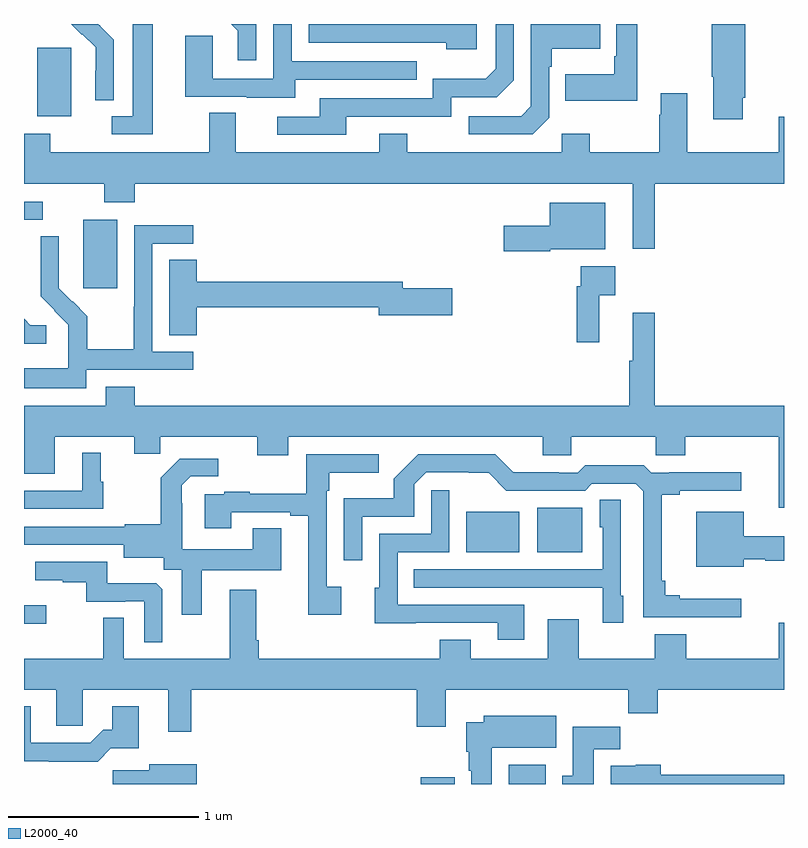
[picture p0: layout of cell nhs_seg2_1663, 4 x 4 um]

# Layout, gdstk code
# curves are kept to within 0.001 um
import gdstk
lib = gdstk.Library(unit=1e-6, precision=1e-09)
def R(c, l, rs):  # rectangles x0, y0, x1, y1
    for r in rs: c.add(gdstk.rectangle(r[:2], r[2:], *l))
def P(c, l, *ps):  # polygons
    for p in ps: c.add(gdstk.Polygon(p, *l))
L2000_40 = (2000, 40)

nhs_seg2_1663 = lib.new_cell('nhs_seg2_1663')
R(nhs_seg2_1663, L2000_40, [(199.088,653.8,199.267,653.836), (199.551,653.8,199.747,653.902), (197,654.644,197.116,654.742), (199.328,655.019,199.606,655.234), (199.7,655.019,199.939,655.255), (197.312,656.409,197.491,656.77), (197,656.769,197.098,656.865), (197.069,657.314,197.248,657.675)])
P(nhs_seg2_1663, L2000_40, [(199.764,657.306),(199.764,657.575),(199.777,657.575),(199.777,657.671),(200.033,657.671),(200.033,657.8),(199.668,657.8),(199.668,657.366),(199.617,657.315),(199.341,657.315),(199.341,657.219),(199.677,657.219)],
  [(198.697,657.312),(199.248,657.312),(199.248,657.414),(199.488,657.414),(199.578,657.504),(199.578,657.8),(199.482,657.8),(199.482,657.564),(199.429,657.511),(199.152,657.511),(199.152,657.408),(198.557,657.408),(198.557,657.312),(198.333,657.312),(198.333,657.216),(198.697,657.216)],
  [(197.677,657.8),(197.573,657.8),(197.573,657.315),(197.463,657.315),(197.463,657.219),(197.677,657.219)],
  [(198.222,657.8),(198.09,657.8),(198.125,657.765),(198.125,657.609),(198.222,657.609)],
  [(197.472,657.718),(197.399,657.791),(197.4,657.792),(197.392,657.8),(197.248,657.8),(197.304,657.744),(197.307,657.747),(197.378,657.677),(197.378,657.554),(197.376,657.554),(197.376,657.4),(197.472,657.4)],
  [(199.384,657.798),(198.607,657.798),(198.607,657.8),(198.498,657.8),(198.498,657.702),(199.223,657.702),(199.223,657.668),(199.384,657.668)],
  [(200.227,657.8),(200.118,657.8),(200.118,657.631),(200.106,657.631),(200.106,657.535),(199.849,657.535),(199.849,657.395),(200.227,657.395)],
  [(198.427,657.507),(199.067,657.507),(199.067,657.603),(198.408,657.603),(198.408,657.8),(198.312,657.8),(198.312,657.513),(197.994,657.513),(197.994,657.737),(197.849,657.737),(197.849,657.417),(198.173,657.417),(198.173,657.413),(198.427,657.413)],
  [(200.782,657.412),(200.795,657.412),(200.795,657.8),(200.62,657.8),(200.62,657.523),(200.627,657.523),(200.627,657.3),(200.782,657.3)],
  [(200.321,656.96),(201,656.96),(201,657.313),(200.972,657.313),(200.972,657.124),(200.491,657.124),(200.491,657.436),(200.351,657.436),(200.351,657.323),(200.344,657.323),(200.344,657.124),(199.977,657.124),(199.977,657.223),(199.83,657.223),(199.83,657.124),(199.017,657.124),(199.017,657.223),(198.869,657.223),(198.869,657.124),(198.115,657.124),(198.115,657.332),(197.975,657.332),(197.975,657.124),(197.139,657.124),(197.139,657.223),(197,657.223),(197,656.96),(197.422,656.96),(197.422,656.861),(197.582,656.861),(197.582,656.96),(200.204,656.96),(200.204,656.616),(200.321,656.616)],
  [(199.77,656.615),(200.059,656.615),(200.059,656.86),(199.766,656.86),(199.766,656.737),(199.524,656.737),(199.524,656.603),(199.77,656.603)],
  [(197.328,655.98),(197.89,655.98),(197.89,656.076),(197.676,656.076),(197.676,656.643),(197.89,656.643),(197.89,656.742),(197.58,656.742),(197.58,656.312),(197.578,656.312),(197.578,656.089),(197.333,656.089),(197.333,656.263),(197.256,656.34),(197.253,656.337),(197.183,656.408),(197.184,656.684),(197.088,656.684),(197.088,656.366),(197.234,656.218),(197.234,656.121),(197.232,656.121),(197.232,655.987),(197,655.987),(197,655.883),(197.328,655.883)],
  [(197.909,656.308),(198.866,656.308),(198.866,656.266),(199.255,656.266),(199.255,656.408),(198.994,656.408),(198.994,656.444),(197.909,656.444),(197.909,656.558),(197.765,656.558),(197.765,656.161),(197.909,656.161)],
  [(200.027,656.372),(200.113,656.372),(200.113,656.524),(199.929,656.524),(199.929,656.42),(199.909,656.42),(199.909,656.124),(200.027,656.124)],
  [(201,655.792),(200.321,655.792),(200.321,656.281),(200.204,656.281),(200.204,656.028),(200.185,656.028),(200.185,655.792),(197.582,655.792),(197.582,655.891),(197.429,655.891),(197.429,655.792),(197,655.792),(197,655.434),(197.161,655.434),(197.161,655.628),(197.579,655.628),(197.579,655.538),(197.717,655.538),(197.717,655.628),(198.227,655.628),(198.227,655.529),(198.391,655.529),(198.391,655.628),(199.73,655.628),(199.73,655.53),(199.881,655.53),(199.881,655.628),(200.326,655.628),(200.326,655.53),(200.481,655.53),(200.481,655.628),(200.972,655.628),(200.972,655.254),(201,655.254)],
  [(197.116,656.214),(197.034,656.214),(197,656.248),(197,656.117),(197.116,656.117)],
  [(197.416,655.392),(197.404,655.392),(197.404,655.543),(197.306,655.543),(197.306,655.344),(197,655.344),(197,655.248),(197.416,655.248)],
  [(200.776,654.775),(200.452,654.775),(200.452,654.794),(200.375,654.794),(200.375,654.871),(200.357,654.871),(200.357,655.322),(200.452,655.322),(200.452,655.344),(200.776,655.344),(200.776,655.442),(200.395,655.442),(200.395,655.437),(200.301,655.437),(200.261,655.477),(199.954,655.477),(199.914,655.437),(199.814,655.437),(199.814,655.442),(199.574,655.442),(199.479,655.536),(199.076,655.536),(198.946,655.406),(198.946,655.303),(198.684,655.303),(198.684,654.978),(198.78,654.978),(198.78,655.206),(199.053,655.206),(199.053,655.377),(199.116,655.44),(199.445,655.439),(199.539,655.344),(199.953,655.344),(199.989,655.38),(200.22,655.38),(200.259,655.341),(200.259,654.678),(200.776,654.678)],
  [(198.67,654.838),(198.594,654.838),(198.594,655.343),(198.607,655.343),(198.607,655.439),(198.868,655.439),(198.868,655.536),(198.486,655.536),(198.486,655.328),(198.187,655.328),(198.187,655.339),(198.055,655.339),(198.055,655.326),(197.951,655.326),(197.951,655.146),(198.091,655.146),(198.091,655.23),(198.401,655.23),(198.401,655.212),(198.497,655.212),(198.497,654.69),(198.67,654.69)],
  [(197.935,654.926),(198.355,654.926),(198.355,655.145),(198.203,655.145),(198.203,655.036),(197.832,655.036),(197.832,655.277),(197.83,655.277),(197.83,655.372),(197.877,655.419),(198.022,655.419),(198.022,655.513),(197.821,655.513),(197.721,655.413),(197.721,655.168),(197.529,655.168),(197.529,655.155),(197,655.155),(197,655.059),(197.525,655.059),(197.525,654.992),(197.736,654.992),(197.736,654.928),(197.831,654.928),(197.831,654.69),(197.935,654.69)],
  [(199.633,654.744),(198.966,654.744),(198.966,655.02),(199.239,655.02),(199.239,655.345),(199.143,655.345),(199.143,655.116),(198.87,655.116),(198.87,654.834),(198.845,654.834),(198.845,654.647),(199.063,654.647),(199.063,654.648),(199.493,654.648),(199.493,654.558),(199.633,654.558)],
  [(200.155,654.792),(200.142,654.792),(200.142,655.295),(200.03,655.295),(200.03,655.152),(200.046,655.152),(200.046,654.93),(199.051,654.93),(199.051,654.834),(199.729,654.834),(199.729,654.833),(200.046,654.833),(200.046,654.648),(200.155,654.648)],
  [(200.788,654.983),(200.901,654.983),(200.901,654.976),(201,654.976),(201,655.105),(200.788,655.105),(200.788,655.234),(200.537,655.234),(200.537,654.944),(200.788,654.944)],
  [(197.727,654.825),(197.695,654.857),(197.437,654.857),(197.437,654.969),(197.059,654.969),(197.059,654.872),(197.203,654.872),(197.203,654.861),(197.327,654.861),(197.327,654.759),(197.534,654.759),(197.534,654.762),(197.634,654.762),(197.634,654.545),(197.727,654.545)],
  [(197.881,654.296),(199.067,654.296),(199.067,654.102),(199.219,654.102),(199.219,654.296),(200.179,654.296),(200.179,654.172),(200.336,654.172),(200.336,654.296),(201,654.296),(201,654.649),(200.972,654.649),(200.972,654.46),(200.485,654.46),(200.485,654.589),(200.321,654.589),(200.321,654.46),(199.921,654.46),(199.921,654.667),(199.757,654.667),(199.757,654.46),(199.351,654.46),(199.351,654.559),(199.187,654.559),(199.187,654.46),(198.236,654.46),(198.236,654.556),(198.223,654.556),(198.223,654.823),(198.083,654.823),(198.083,654.46),(197.526,654.46),(197.526,654.674),(197.418,654.674),(197.418,654.46),(197,654.46),(197,654.296),(197.171,654.296),(197.171,654.106),(197.31,654.106),(197.31,654.296),(197.759,654.296),(197.759,654.075),(197.881,654.075)],
  [(197.456,653.987),(197.605,653.987),(197.605,654.208),(197.465,654.208),(197.465,654.085),(197.416,654.085),(197.349,654.018),(197.035,654.018),(197.035,654.208),(197,654.208),(197,653.92),(197.131,653.92),(197.131,653.918),(197.387,653.918)],
  [(199.462,653.99),(199.801,653.99),(199.801,654.16),(199.421,654.16),(199.421,654.124),(199.328,654.124),(199.328,653.97),(199.34,653.97),(199.34,653.87),(199.355,653.87),(199.355,653.8),(199.462,653.8)],
  [(199.999,653.984),(200.138,653.984),(200.138,654.102),(199.889,654.102),(199.889,653.844),(199.832,653.844),(199.832,653.8),(199.999,653.8)],
  [(197.909,653.905),(197.66,653.905),(197.66,653.873),(197.466,653.873),(197.466,653.8),(197.909,653.8)],
  [(201,653.848),(200.351,653.848),(200.351,653.902),(200.22,653.902),(200.22,653.896),(200.087,653.896),(200.087,653.8),(201,653.8)])

lib.write_gds('nhs_seg2_1663.gds')
